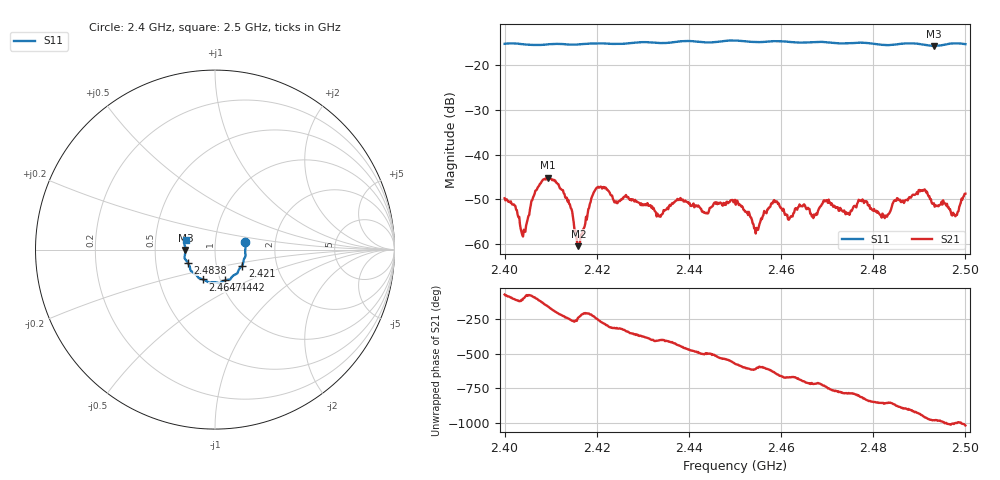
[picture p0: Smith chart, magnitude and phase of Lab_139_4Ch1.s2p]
# Hz S RI R 50
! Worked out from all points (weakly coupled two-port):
!   601 points, 2.4 GHz to 2.5 GHz, reference 50 ohm
!   highest |S21| = -45.12 dB at 2.4093 GHz (marker M1); lowest = -60.5 dB at 2.416 GHz (marker M2)
!   lowest |S11| = -15.7 dB at 2.4932 GHz (marker M3), VSWR 1.39, Z = 35.9 - j0.106 ohm
!   |S11| at or under -10 dB: start of sweep to end of sweep
!   S12 and S22 are empty: the file has one direction only
!   S11 on the Smith chart (normalised r, x): 2.4 GHz: 1.40, +0.12; 2.421 GHz: 1.33, -0.24; 2.4442 GHz: 1.05, -0.37; 2.4647 GHz: 0.83, -0.28; 2.4838 GHz: 0.73, -0.11; 2.5 GHz: 0.71, +0.08
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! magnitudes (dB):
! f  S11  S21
! 2.4 GHz  -15.2  -49.8
! 2.404 GHz  -15.3  -58.3
! 2.4093 GHz  -15.3  -45.1
! 2.414 GHz  -15.4  -51.0
! 2.416 GHz  -15.3  -60.5
! 2.4167 GHz  -15.3  -57.8
! 2.421 GHz  -15.1  -47.2
! 2.4333 GHz  -15.0  -53.7
! 2.438 GHz  -14.7  -50.0
! 2.4442 GHz  -14.9  -53.1
! 2.45 GHz  -14.5  -50.1
! 2.4547 GHz  -14.8  -56.4
! 2.4583 GHz  -14.6  -50.4
! 2.4647 GHz  -14.9  -51.6
! 2.4667 GHz  -14.8  -53.8
! 2.4773 GHz  -15.0  -50.2
! 2.4833 GHz  -15.5  -53.3
! 2.4838 GHz  -15.5  -52.3
! 2.4903 GHz  -15.3  -47.9
! 2.4932 GHz  -15.7  -50.9
! 2.4977 GHz  -15.1  -53.5
! 2.5 GHz  -15.3  -48.7
